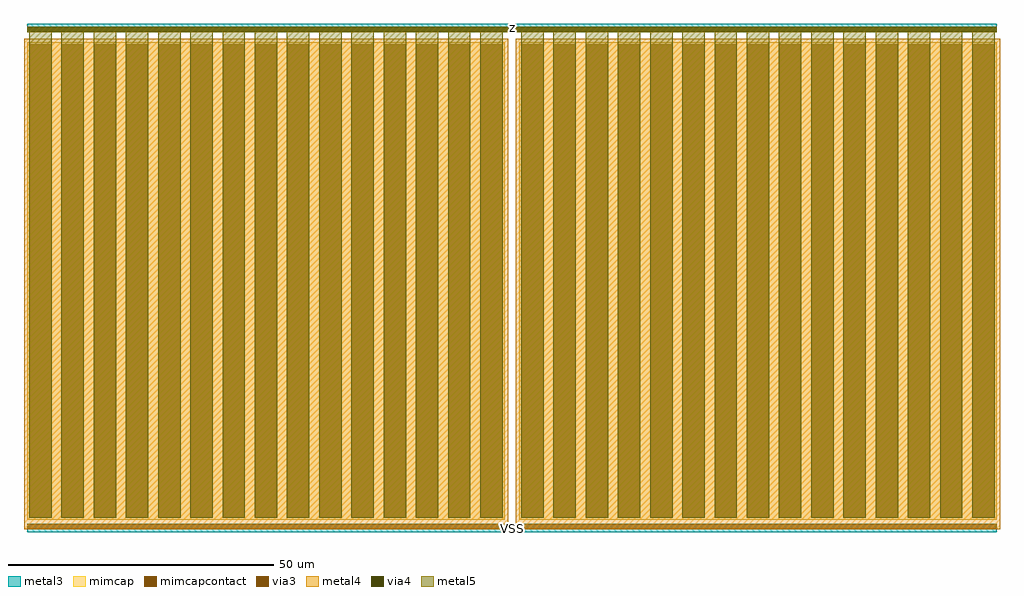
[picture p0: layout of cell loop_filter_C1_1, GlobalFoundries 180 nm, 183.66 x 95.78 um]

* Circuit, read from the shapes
.subckt loop_filter_C1_1 z VSS
XC1 z VSS cap_mim_2f0fF c_width=89.88u c_length=89.88u m=2
.ends

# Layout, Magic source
magic
tech gf180mcuD
magscale 1 10
<< metal3 >>
rect 0 -340 17976 -160
rect 18516 -340 36492 -160
rect 0 18356 36492 18556
rect 0 18356 36492 18676
rect 0 18356 36492 18676
rect 0 -480 36492 -160
rect 0 -480 36492 -160
<< metal4 >>
rect -120 -360 18096 18096
rect 0 -340 17976 -160
rect 18396 -360 36612 18096
rect 18516 -340 36492 -160
rect 0 18356 36492 18556
rect 0 18356 36492 18556
<< mimcap >>
rect 0 0 17976 17976
rect 18516 0 36492 17976
<< metal5 >>
rect 78 78 922 18456
rect 1290 78 2134 18456
rect 2503 78 3347 18456
rect 3715 78 4559 18456
rect 4928 78 5772 18456
rect 6140 78 6984 18456
rect 7352 78 8196 18456
rect 8565 78 9409 18456
rect 9777 78 10621 18456
rect 10990 78 11834 18456
rect 12202 78 13046 18456
rect 13414 78 14258 18456
rect 14627 78 15471 18456
rect 15839 78 16683 18456
rect 17052 78 17896 18456
rect 18594 78 19438 18456
rect 19806 78 20650 18456
rect 21019 78 21863 18456
rect 22231 78 23075 18456
rect 23444 78 24288 18456
rect 24656 78 25500 18456
rect 25868 78 26712 18456
rect 27081 78 27925 18456
rect 28293 78 29137 18456
rect 29506 78 30350 18456
rect 30718 78 31562 18456
rect 31930 78 32774 18456
rect 33143 78 33987 18456
rect 34355 78 35199 18456
rect 35568 78 36412 18456
rect 0 18356 36492 18556
rect 0 18356 36492 18556
<< via3 >>
rect 10 -330 17966 -170
rect 18526 -330 36482 -170
rect 10 18366 36482 18546
<< via4 >>
rect 10 18366 36482 18546
<< mimcapcontact >>
rect 78 78 922 17898
rect 1290 78 2134 17898
rect 2503 78 3347 17898
rect 3715 78 4559 17898
rect 4928 78 5772 17898
rect 6140 78 6984 17898
rect 7352 78 8196 17898
rect 8565 78 9409 17898
rect 9777 78 10621 17898
rect 10990 78 11834 17898
rect 12202 78 13046 17898
rect 13414 78 14258 17898
rect 14627 78 15471 17898
rect 15839 78 16683 17898
rect 17052 78 17896 17898
rect 18594 78 19438 17898
rect 19806 78 20650 17898
rect 21019 78 21863 17898
rect 22231 78 23075 17898
rect 23444 78 24288 17898
rect 24656 78 25500 17898
rect 25868 78 26712 17898
rect 27081 78 27925 17898
rect 28293 78 29137 17898
rect 29506 78 30350 17898
rect 30718 78 31562 17898
rect 31930 78 32774 17898
rect 33143 78 33987 17898
rect 34355 78 35199 17898
rect 35568 78 36412 17898
<< labels >>
flabel metal3 s 0 18356 36492 18676 0 FreeSans 80 0 0 0 z
port 1 nsew signal bidirectional
flabel metal3 s 0 -480 36492 -160 0 FreeSans 80 0 0 0 VSS
port 2 nsew signal bidirectional
<< end >>
